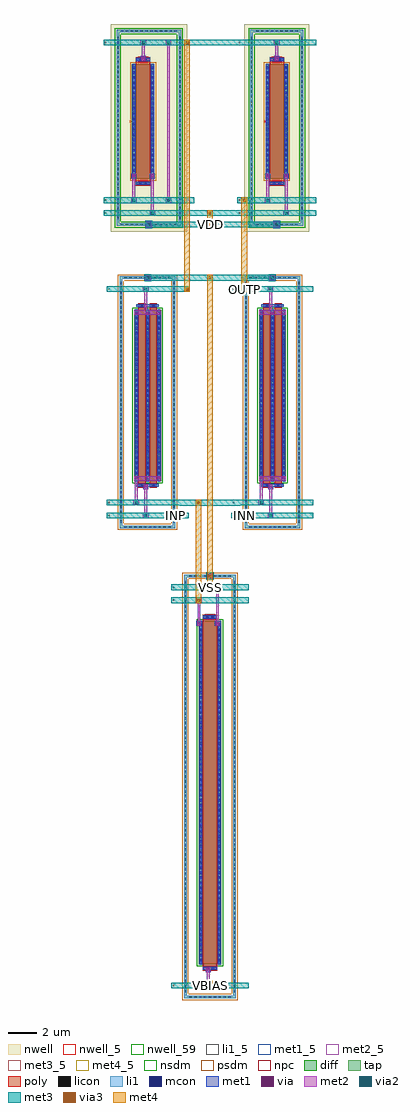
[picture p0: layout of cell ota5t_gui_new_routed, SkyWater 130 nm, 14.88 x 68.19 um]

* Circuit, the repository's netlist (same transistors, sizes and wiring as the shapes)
* Extracted by KLayout with SKY130 LVS runset on : 04/11/2026 18:48

.SUBCKT ota5t_gui_new_routed INN INP OUTP VBIAS VDD VSS sky130_gnd
M$1 \$20 \$20 VDD VDD sky130_fd_pr__pfet_01v8 L=1 W=8 AS=2.32 AD=2.32 PS=16.58
+ PD=16.58
M$2 OUTP \$20 VDD VDD sky130_fd_pr__pfet_01v8 L=1 W=8 AS=2.32 AD=2.32 PS=16.58
+ PD=16.58
M$3 \$4 INP \$20 sky130_gnd sky130_fd_pr__nfet_01v8 L=0.5 W=12 AS=3.48 AD=1.74
+ PS=24.58 PD=12.29
M$4 \$20 INP \$4 sky130_gnd sky130_fd_pr__nfet_01v8 L=0.5 W=12 AS=1.74 AD=3.48
+ PS=12.29 PD=24.58
M$5 \$4 INN OUTP sky130_gnd sky130_fd_pr__nfet_01v8 L=0.5 W=12 AS=3.48 AD=1.74
+ PS=24.58 PD=12.29
M$6 OUTP INN \$4 sky130_gnd sky130_fd_pr__nfet_01v8 L=0.5 W=12 AS=1.74 AD=3.48
+ PS=12.29 PD=24.58
M$7 \$4 VBIAS VSS sky130_gnd sky130_fd_pr__nfet_01v8 L=1 W=24 AS=6.96 AD=6.96
+ PS=48.58 PD=48.58
.ENDS ota5t_gui_new_routed

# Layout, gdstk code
import gdstk
lib = gdstk.Library(unit=1e-6, precision=1e-09)
def R(c, l, rs):  # rectangles x0, y0, x1, y1
    for r in rs: c.add(gdstk.rectangle(r[:2], r[2:], *l))
def A(c, l, x, y, w, h, nx, ny, dx, dy):  # array of equal rectangles
    R(c, l, [(x+i*dx, y+j*dy, x+i*dx+w, y+j*dy+h) for i in range(nx) for j in range(ny)])
nwell_5 = (64, 5)
nwell = (64, 20)
nwell_59 = (64, 59)
diff = (65, 20)
tap = (65, 44)
poly = (66, 20)
licon = (66, 44)
li1_5 = (67, 5)
li1 = (67, 20)
mcon = (67, 44)
met1_5 = (68, 5)
met1 = (68, 20)
via = (68, 44)
met2_5 = (69, 5)
met2 = (69, 20)
via2 = (69, 44)
met3_5 = (70, 5)
met3 = (70, 20)
via3 = (70, 44)
met4_5 = (71, 5)
met4 = (71, 20)
nsdm = (93, 44)
psdm = (94, 20)
npc = (95, 20)

sky130_fd_pr__nfet_01v8_ = lib.new_cell('sky130_fd_pr__nfet_01v8_5VM7HL')
R(sky130_fd_pr__nfet_01v8_, diff, [(-0.79,-12,0.79,12)])
R(sky130_fd_pr__nfet_01v8_, poly, [(-0.5,-12.44,0.5,12.44)])
A(sky130_fd_pr__nfet_01v8_, licon, -0.73, -11.815, 0.17, 0.17, 1, 70, 0, 0.34)
A(sky130_fd_pr__nfet_01v8_, licon, 0.56, -11.815, 0.17, 0.17, 1, 70, 0, 0.34)
R(sky130_fd_pr__nfet_01v8_, licon, [(-0.255,-12.36,-0.085,-12.19), (0.085,-12.36,0.255,-12.19), (-0.255,12.19,-0.085,12.36), (0.085,12.19,0.255,12.36)])
R(sky130_fd_pr__nfet_01v8_, li1, [(-0.5,-12.36,0.5,-12.19), (-0.73,-12.02,-0.56,12.02), (0.56,-12.02,0.73,12.02), (-0.5,12.19,0.5,12.36)])
A(sky130_fd_pr__nfet_01v8_, mcon, -0.73, -11.785, 0.17, 0.17, 1, 66, 0, 0.36)
A(sky130_fd_pr__nfet_01v8_, mcon, 0.56, -11.785, 0.17, 0.17, 1, 66, 0, 0.36)
R(sky130_fd_pr__nfet_01v8_, mcon, [(-0.265,-12.36,-0.095,-12.19), (0.095,-12.36,0.265,-12.19), (-0.265,12.19,-0.095,12.36), (0.095,12.19,0.265,12.36)])
R(sky130_fd_pr__nfet_01v8_, met1, [(-0.48,-12.39,0.48,-12.16), (-0.76,-12,-0.53,12), (0.53,-12,0.76,12), (-0.48,12.16,0.48,12.39)])
R(sky130_fd_pr__nfet_01v8_, nsdm, [(-0.915,-12.125,0.915,12.125)])
R(sky130_fd_pr__nfet_01v8_, npc, [(-0.355,-12.46,0.355,-12.09), (-0.355,12.09,0.355,12.46)])
sky130_fd_pr__nfet_01v8_.add(gdstk.Label('D', (-0.645,0), layer=67, texttype=5))
sky130_fd_pr__nfet_01v8_.add(gdstk.Label('S', (0.645,0), layer=67, texttype=5))
sky130_fd_pr__nfet_01v8_.add(gdstk.Label('G', (0,12.275), layer=67, texttype=5))

nfet_01v8_w24_l1_m1__nf1 = lib.new_cell('nfet_01v8_W24_L1_m1__nf1_gboth_sdfull_ng')
R(nfet_01v8_w24_l1_m1__nf1, nwell_59, [(0.05,12.39,0.15,12.49)])
R(nfet_01v8_w24_l1_m1__nf1, met1_5, [(0.03,12.44,0.26,12.64), (1.32,12.44,1.55,12.64), (0.31,24.6,1.27,24.83)])
R(nfet_01v8_w24_l1_m1__nf1, met1, [(0.03,12.44,0.26,12.64), (1.32,12.44,1.55,12.64), (0.31,24.6,1.27,24.83)])
nfet_01v8_w24_l1_m1__nf1.add(gdstk.Reference(sky130_fd_pr__nfet_01v8_, (0.79,12.44)))
nfet_01v8_w24_l1_m1__nf1.add(gdstk.Label('D', (0.145,12.54), layer=68, texttype=5))
nfet_01v8_w24_l1_m1__nf1.add(gdstk.Label('S', (1.435,12.54), layer=68, texttype=5))
nfet_01v8_w24_l1_m1__nf1.add(gdstk.Label('G', (0.79,24.715), layer=68, texttype=5))
nfet_01v8_w24_l1_m1__nf1.add(gdstk.Label('B', (0.1,12.44), layer=64, texttype=59))

xm5__a = lib.new_cell('XM5__A')
R(xm5__a, tap, [(-0.885,-2.785,2.715,-2.615), (-0.885,-2.615,-0.715,26.635), (2.545,-2.615,2.715,26.635), (-0.885,26.635,2.715,26.805)])
A(xm5__a, licon, -0.53, -2.785, 0.17, 0.17, 9, 2, 0.34, 29.42)
A(xm5__a, licon, -0.885, -2.355, 0.17, 0.17, 1, 85, 0, 0.34)
A(xm5__a, licon, 2.545, -2.355, 0.17, 0.17, 1, 85, 0, 0.34)
R(xm5__a, li1_5, [(0.865,-2.75,0.965,-2.65)])
R(xm5__a, li1, [(-0.885,-2.785,2.715,-2.615), (-0.885,-2.615,-0.715,26.635), (2.545,-2.615,2.715,26.635), (-0.885,26.635,2.715,26.805)])
R(xm5__a, met1, [(-0.035,0.44,0.325,0.8), (1.255,0.44,1.615,0.8), (0.61,24.63,0.97,24.99)])
R(xm5__a, via, [(0.07,0.545,0.22,0.695), (1.36,0.545,1.51,0.695), (0.715,24.735,0.865,24.885)])
R(xm5__a, met2, [(1.235,-2.1,1.635,-1.7), (1.335,-1.7,1.535,0.46), (-0.055,-1.2,0.345,-0.8), (0.045,-0.8,0.245,0.46), (0.015,0.46,0.275,0.78), (1.305,0.46,1.565,0.78), (0.66,24.65,0.92,24.97), (0.69,24.97,0.89,25.72), (0.59,25.72,0.99,26.12)])
R(xm5__a, via2, [(1.335,-2,1.535,-1.8), (0.045,-1.1,0.245,-0.9), (0.69,25.82,0.89,26.02)])
R(xm5__a, met3_5, [(-1.7,-1.95,-1.6,-1.85), (-1.7,-1.05,-1.6,-0.95), (-1.7,25.87,-1.6,25.97)])
R(xm5__a, met3, [(-1.8,-2.1,3.63,-1.7), (-1.8,-1.2,3.63,-0.8), (-1.8,25.72,3.63,26.12)])
R(xm5__a, psdm, [(-1.01,-2.91,2.84,-2.49), (-1.01,-2.49,-0.59,26.51), (2.42,-2.49,2.84,26.51), (-1.01,26.51,2.84,26.93)])
xm5__a.add(gdstk.Reference(nfet_01v8_w24_l1_m1__nf1, (0.13,0)))
xm5__a.add(gdstk.Label('net2', (-1.65,25.92), layer=70, texttype=5))
xm5__a.add(gdstk.Label('net1', (-1.65,-1), layer=70, texttype=5))
xm5__a.add(gdstk.Label('VSS', (-1.65,-1.9), layer=70, texttype=5))
xm5__a.add(gdstk.Label('VSS_body', (0.915,-2.7), layer=67, texttype=5))

c_sky130_fd_pr__nfet_01v8_ = lib.new_cell('sky130_fd_pr__nfet_01v8_BXZS2L')
R(c_sky130_fd_pr__nfet_01v8_, diff, [(-0.935,-6,0.935,6)])
R(c_sky130_fd_pr__nfet_01v8_, poly, [(-0.645,-6.44,-0.145,6.44), (0.145,-6.44,0.645,6.44)])
A(c_sky130_fd_pr__nfet_01v8_, licon, -0.875, -5.865, 0.17, 0.17, 3, 35, 0.79, 0.34)
R(c_sky130_fd_pr__nfet_01v8_, licon, [(-0.48,-6.36,-0.31,-6.19), (0.31,-6.36,0.48,-6.19), (-0.48,6.19,-0.31,6.36), (0.31,6.19,0.48,6.36)])
A(c_sky130_fd_pr__nfet_01v8_, li1, -0.875, -6.02, 0.17, 12.04, 3, 1, 0.79, 0)
R(c_sky130_fd_pr__nfet_01v8_, li1, [(-0.79,-6.36,0.79,-6.19), (-0.79,6.19,0.79,6.36)])
A(c_sky130_fd_pr__nfet_01v8_, mcon, -0.875, -5.845, 0.17, 0.17, 3, 33, 0.79, 0.36)
R(c_sky130_fd_pr__nfet_01v8_, mcon, [(-0.48,-6.36,-0.31,-6.19), (0.31,-6.36,0.48,-6.19), (-0.48,6.19,-0.31,6.36), (0.31,6.19,0.48,6.36)])
A(c_sky130_fd_pr__nfet_01v8_, met1, -0.905, -6, 0.23, 12, 3, 1, 0.79, 0)
R(c_sky130_fd_pr__nfet_01v8_, met1, [(-0.625,-6.39,-0.165,-6.36), (0.165,-6.39,0.625,-6.36), (-0.79,-6.36,0.79,-6.19), (-0.625,-6.19,-0.165,-6.16), (0.165,-6.19,0.625,-6.16), (-0.625,6.16,-0.165,6.19), (0.165,6.16,0.625,6.19), (-0.79,6.19,0.79,6.36), (-0.625,6.36,-0.165,6.39), (0.165,6.36,0.625,6.39)])
R(c_sky130_fd_pr__nfet_01v8_, nsdm, [(-1.06,-6.125,1.06,6.125)])
R(c_sky130_fd_pr__nfet_01v8_, npc, [(-0.58,-6.46,-0.21,-6.09), (0.21,-6.46,0.58,-6.09), (-0.58,6.09,-0.21,6.46), (0.21,6.09,0.58,6.46)])
c_sky130_fd_pr__nfet_01v8_.add(gdstk.Label('D0', (-0.79,0), layer=67, texttype=5))
c_sky130_fd_pr__nfet_01v8_.add(gdstk.Label('G', (0.395,6.275), layer=67, texttype=5))
c_sky130_fd_pr__nfet_01v8_.add(gdstk.Label('G', (-0.395,6.275), layer=67, texttype=5))
c_sky130_fd_pr__nfet_01v8_.add(gdstk.Label('S1', (0,0), layer=67, texttype=5))

nfet_01v8_w24_l0p5_m1__n = lib.new_cell('nfet_01v8_W24_L0p5_m1__nf2_gboth_sdfull_outS_ng')
R(nfet_01v8_w24_l0p5_m1__n, nwell_59, [(0.05,6.39,0.15,6.49)])
R(nfet_01v8_w24_l0p5_m1__n, met1_5, [(0.145,12.6,1.725,12.83)])
R(nfet_01v8_w24_l0p5_m1__n, met1, [(0.805,0.49,1.065,0.81), (0.015,12.07,0.275,12.39), (1.595,12.07,1.855,12.39), (0.145,12.6,1.725,12.83)])
R(nfet_01v8_w24_l0p5_m1__n, via, [(0.86,0.575,1.01,0.725), (0.07,12.155,0.22,12.305), (1.65,12.155,1.8,12.305)])
R(nfet_01v8_w24_l0p5_m1__n, met2_5, [(0.01,0.49,1.86,0.81), (0.01,12.07,1.86,12.39)])
R(nfet_01v8_w24_l0p5_m1__n, met2, [(0.01,0.49,1.86,0.81), (0.01,12.07,1.86,12.39)])
nfet_01v8_w24_l0p5_m1__n.add(gdstk.Reference(c_sky130_fd_pr__nfet_01v8_, (0.935,6.44)))
nfet_01v8_w24_l0p5_m1__n.add(gdstk.Label('S', (0.935,12.23), layer=69, texttype=5))
nfet_01v8_w24_l0p5_m1__n.add(gdstk.Label('D', (0.935,0.65), layer=69, texttype=5))
nfet_01v8_w24_l0p5_m1__n.add(gdstk.Label('G', (0.935,12.715), layer=68, texttype=5))
nfet_01v8_w24_l0p5_m1__n.add(gdstk.Label('B', (0.1,6.44), layer=64, texttype=59))

xm2__a = lib.new_cell('XM2__A')
R(xm2__a, tap, [(-0.885,-1.885,3.005,-1.715), (-0.885,-1.715,-0.715,15.535), (2.835,-1.715,3.005,15.535), (-0.885,15.535,3.005,15.705)])
A(xm2__a, licon, -0.555, -1.885, 0.17, 0.17, 10, 2, 0.34, 17.42)
A(xm2__a, licon, -0.885, -1.505, 0.17, 0.17, 1, 50, 0, 0.34)
A(xm2__a, licon, 2.835, -1.505, 0.17, 0.17, 1, 50, 0, 0.34)
R(xm2__a, li1_5, [(1.01,-1.85,1.11,-1.75)])
R(xm2__a, li1, [(-0.885,-1.885,3.005,-1.715), (-0.885,-1.715,-0.715,15.535), (2.835,-1.715,3.005,15.535), (-0.885,15.535,3.005,15.705)])
R(xm2__a, met1, [(0.755,12.63,1.115,12.99)])
R(xm2__a, via, [(0.86,12.735,1.01,12.885)])
R(xm2__a, met2, [(0.735,-1.2,1.135,-0.8), (0.835,-0.8,1.035,0.59), (0.17,12.29,0.37,13.72), (0.805,12.65,1.065,12.97), (0.835,12.97,1.035,14.62), (0.07,13.72,0.47,14.12), (0.735,14.62,1.135,15.02)])
R(xm2__a, via2, [(0.835,-1.1,1.035,-0.9), (0.17,13.82,0.37,14.02), (0.835,14.72,1.035,14.92)])
R(xm2__a, met3_5, [(-1.7,-1.05,-1.6,-0.95), (-1.7,13.87,-1.6,13.97), (-1.7,14.77,-1.6,14.87)])
R(xm2__a, met3, [(-1.8,-1.2,3.92,-0.8), (-1.8,13.72,3.92,14.12), (-1.8,14.62,3.92,15.02)])
R(xm2__a, psdm, [(-1.01,-2.01,3.13,-1.59), (-1.01,-1.59,-0.59,15.41), (2.71,-1.59,3.13,15.41), (-1.01,15.41,3.13,15.83)])
xm2__a.add(gdstk.Reference(nfet_01v8_w24_l0p5_m1__n, (0.13,0)))
xm2__a.add(gdstk.Label('net1', (-1.65,13.92), layer=70, texttype=5))
xm2__a.add(gdstk.Label('INN', (-1.65,14.82), layer=70, texttype=5))
xm2__a.add(gdstk.Label('OUTP', (-1.65,-1), layer=70, texttype=5))
xm2__a.add(gdstk.Label('VSS_body', (1.06,-1.8), layer=67, texttype=5))

xm1__a = lib.new_cell('XM1__A')
R(xm1__a, tap, [(-0.885,-1.885,3.005,-1.715), (-0.885,-1.715,-0.715,15.535), (2.835,-1.715,3.005,15.535), (-0.885,15.535,3.005,15.705)])
A(xm1__a, licon, -0.555, -1.885, 0.17, 0.17, 10, 2, 0.34, 17.42)
A(xm1__a, licon, -0.885, -1.505, 0.17, 0.17, 1, 50, 0, 0.34)
A(xm1__a, licon, 2.835, -1.505, 0.17, 0.17, 1, 50, 0, 0.34)
R(xm1__a, li1_5, [(1.01,-1.85,1.11,-1.75)])
R(xm1__a, li1, [(-0.885,-1.885,3.005,-1.715), (-0.885,-1.715,-0.715,15.535), (2.835,-1.715,3.005,15.535), (-0.885,15.535,3.005,15.705)])
R(xm1__a, met1, [(0.755,12.63,1.115,12.99)])
R(xm1__a, via, [(0.86,12.735,1.01,12.885)])
R(xm1__a, met2, [(0.735,-1.2,1.135,-0.8), (0.835,-0.8,1.035,0.59), (0.17,12.29,0.37,13.72), (0.805,12.65,1.065,12.97), (0.835,12.97,1.035,14.62), (0.07,13.72,0.47,14.12), (0.735,14.62,1.135,15.02)])
R(xm1__a, via2, [(0.835,-1.1,1.035,-0.9), (0.17,13.82,0.37,14.02), (0.835,14.72,1.035,14.92)])
R(xm1__a, met3_5, [(-1.7,-1.05,-1.6,-0.95), (-1.7,13.87,-1.6,13.97), (-1.7,14.77,-1.6,14.87)])
R(xm1__a, met3, [(-1.8,-1.2,3.92,-0.8), (-1.8,13.72,3.92,14.12), (-1.8,14.62,3.92,15.02)])
R(xm1__a, psdm, [(-1.01,-2.01,3.13,-1.59), (-1.01,-1.59,-0.59,15.41), (2.71,-1.59,3.13,15.41), (-1.01,15.41,3.13,15.83)])
xm1__a.add(gdstk.Reference(nfet_01v8_w24_l0p5_m1__n, (0.13,0)))
xm1__a.add(gdstk.Label('net1', (-1.65,13.92), layer=70, texttype=5))
xm1__a.add(gdstk.Label('INP', (-1.65,14.82), layer=70, texttype=5))
xm1__a.add(gdstk.Label('net3', (-1.65,-1), layer=70, texttype=5))
xm1__a.add(gdstk.Label('VSS_body', (1.06,-1.8), layer=67, texttype=5))

sky130_fd_pr__pfet_01v8_ = lib.new_cell('sky130_fd_pr__pfet_01v8_8HDVAE')
R(sky130_fd_pr__pfet_01v8_, nwell, [(-0.97,-4.5,0.97,4.5)])
R(sky130_fd_pr__pfet_01v8_, diff, [(-0.79,-4,0.79,4)])
R(sky130_fd_pr__pfet_01v8_, poly, [(-0.5,-4.485,0.5,4.485)])
A(sky130_fd_pr__pfet_01v8_, licon, -0.73, -3.825, 0.17, 0.17, 1, 23, 0, 0.34)
A(sky130_fd_pr__pfet_01v8_, licon, 0.56, -3.825, 0.17, 0.17, 1, 23, 0, 0.34)
R(sky130_fd_pr__pfet_01v8_, licon, [(-0.255,-4.405,-0.085,-4.235), (0.085,-4.405,0.255,-4.235), (-0.255,4.235,-0.085,4.405), (0.085,4.235,0.255,4.405)])
R(sky130_fd_pr__pfet_01v8_, li1, [(-0.5,-4.405,0.5,-4.235), (-0.73,-4.02,-0.56,4.02), (0.56,-4.02,0.73,4.02), (-0.5,4.235,0.5,4.405)])
A(sky130_fd_pr__pfet_01v8_, mcon, -0.73, -3.865, 0.17, 0.17, 1, 22, 0, 0.36)
A(sky130_fd_pr__pfet_01v8_, mcon, 0.56, -3.865, 0.17, 0.17, 1, 22, 0, 0.36)
R(sky130_fd_pr__pfet_01v8_, mcon, [(-0.265,-4.405,-0.095,-4.235), (0.095,-4.405,0.265,-4.235), (-0.265,4.235,-0.095,4.405), (0.095,4.235,0.265,4.405)])
R(sky130_fd_pr__pfet_01v8_, met1, [(-0.48,-4.435,0.48,-4.205), (-0.76,-4,-0.53,4), (0.53,-4,0.76,4), (-0.48,4.205,0.48,4.435)])
R(sky130_fd_pr__pfet_01v8_, psdm, [(-0.915,-4.125,0.915,4.125)])
R(sky130_fd_pr__pfet_01v8_, npc, [(-0.355,-4.505,0.355,-4.135), (-0.355,4.135,0.355,4.505)])
sky130_fd_pr__pfet_01v8_.add(gdstk.Label('D', (-0.645,0), layer=67, texttype=5))
sky130_fd_pr__pfet_01v8_.add(gdstk.Label('S', (0.645,0), layer=67, texttype=5))
sky130_fd_pr__pfet_01v8_.add(gdstk.Label('G', (0,4.32), layer=67, texttype=5))

pfet_01v8_w8_l1_m1__nf1_ = lib.new_cell('pfet_01v8_W8_L1_m1__nf1_gboth_sdfull_ng')
R(pfet_01v8_w8_l1_m1__nf1_, nwell_5, [(0.05,4.45,0.15,4.55)])
R(pfet_01v8_w8_l1_m1__nf1_, nwell, [(0.05,4.45,0.15,4.55)])
R(pfet_01v8_w8_l1_m1__nf1_, met1_5, [(0.21,4.5,0.44,4.7), (1.5,4.5,1.73,4.7), (0.49,8.705,1.45,8.935)])
R(pfet_01v8_w8_l1_m1__nf1_, met1, [(0.21,4.5,0.44,4.7), (1.5,4.5,1.73,4.7), (0.49,8.705,1.45,8.935)])
pfet_01v8_w8_l1_m1__nf1_.add(gdstk.Reference(sky130_fd_pr__pfet_01v8_, (0.97,4.5)))
pfet_01v8_w8_l1_m1__nf1_.add(gdstk.Label('D', (0.325,4.6), layer=68, texttype=5))
pfet_01v8_w8_l1_m1__nf1_.add(gdstk.Label('S', (1.615,4.6), layer=68, texttype=5))
pfet_01v8_w8_l1_m1__nf1_.add(gdstk.Label('G', (0.97,8.82), layer=68, texttype=5))
pfet_01v8_w8_l1_m1__nf1_.add(gdstk.Label('B', (0.1,4.5), layer=64, texttype=5))

xm4__a = lib.new_cell('XM4__A')
R(xm4__a, nwell, [(-1.3,-3.2,3.24,11.31)])
R(xm4__a, tap, [(-0.885,-2.785,2.825,-2.615), (-0.885,-2.615,-0.715,10.725), (2.655,-2.615,2.825,10.725), (-0.885,10.725,2.825,10.895)])
A(xm4__a, licon, -0.475, -2.785, 0.17, 0.17, 9, 2, 0.34, 13.51)
A(xm4__a, licon, -0.885, -2.32, 0.17, 0.17, 1, 38, 0, 0.34)
A(xm4__a, licon, 2.655, -2.32, 0.17, 0.17, 1, 38, 0, 0.34)
R(xm4__a, li1_5, [(0.92,-2.75,1.02,-2.65)])
R(xm4__a, li1, [(-0.885,-2.785,2.825,-2.615), (-0.885,-2.615,-0.715,10.725), (2.655,-2.615,2.825,10.725), (-0.885,10.725,2.825,10.895)])
R(xm4__a, met1, [(0.145,0.5,0.505,0.86), (1.435,0.5,1.795,0.86), (0.79,8.735,1.15,9.095)])
R(xm4__a, via, [(0.25,0.605,0.4,0.755), (1.54,0.605,1.69,0.755), (0.895,8.84,1.045,8.99)])
R(xm4__a, met2, [(1.415,-2.1,1.815,-1.7), (1.515,-1.7,1.715,0.52), (0.125,-1.2,0.525,-0.8), (0.225,-0.8,0.425,0.52), (0.195,0.52,0.455,0.84), (1.485,0.52,1.745,0.84), (0.84,8.755,1.1,9.075), (0.87,9.075,1.07,9.81), (0.77,9.81,1.17,10.21)])
R(xm4__a, via2, [(1.515,-2,1.715,-1.8), (0.225,-1.1,0.425,-0.9), (0.87,9.91,1.07,10.11)])
R(xm4__a, met3_5, [(-1.7,-1.95,-1.6,-1.85), (-1.7,-1.05,-1.6,-0.95), (-1.7,9.96,-1.6,10.06)])
R(xm4__a, met3, [(-1.8,-2.1,3.74,-1.7), (-1.8,-1.2,3.74,-0.8), (-1.8,9.81,3.74,10.21)])
R(xm4__a, nsdm, [(-1.01,-2.91,2.95,-2.49), (-1.01,-2.49,-0.59,10.6), (2.53,-2.49,2.95,10.6), (-1.01,10.6,2.95,11.02)])
xm4__a.add(gdstk.Reference(pfet_01v8_w8_l1_m1__nf1_, (0,0)))
xm4__a.add(gdstk.Label('net3', (-1.65,10.01), layer=70, texttype=5))
xm4__a.add(gdstk.Label('OUTP', (-1.65,-1), layer=70, texttype=5))
xm4__a.add(gdstk.Label('VDD', (-1.65,-1.9), layer=70, texttype=5))
xm4__a.add(gdstk.Label('VDD_body', (0.97,-2.7), layer=67, texttype=5))

xm3__a = lib.new_cell('XM3__A')
R(xm3__a, nwell, [(-1.3,-3.2,4.04,11.31)])
R(xm3__a, tap, [(-0.885,-2.785,3.625,-2.615), (-0.885,-2.615,-0.715,10.725), (3.455,-2.615,3.625,10.725), (-0.885,10.725,3.625,10.895)])
A(xm3__a, licon, -0.585, -2.785, 0.17, 0.17, 12, 2, 0.34, 13.51)
A(xm3__a, licon, -0.885, -2.32, 0.17, 0.17, 1, 38, 0, 0.34)
A(xm3__a, licon, 3.455, -2.32, 0.17, 0.17, 1, 38, 0, 0.34)
R(xm3__a, li1_5, [(1.32,-2.75,1.42,-2.65)])
R(xm3__a, li1, [(-0.885,-2.785,3.625,-2.615), (-0.885,-2.615,-0.715,10.725), (3.455,-2.615,3.625,10.725), (-0.885,10.725,3.625,10.895)])
R(xm3__a, met1, [(0.145,0.5,0.505,0.86), (1.435,0.5,1.795,0.86), (0.79,8.735,1.15,9.095)])
R(xm3__a, via, [(0.25,0.605,0.4,0.755), (1.54,0.605,1.69,0.755), (0.895,8.84,1.045,8.99)])
R(xm3__a, met2, [(1.415,-2.1,1.815,-1.7), (1.515,-1.7,1.715,0.52), (0.125,-1.2,0.525,-0.8), (2.54,-1.2,2.94,-0.8), (0.225,-0.8,0.425,0.52), (2.64,-0.8,2.84,9.81), (0.195,0.52,0.455,0.84), (1.485,0.52,1.745,0.84), (0.84,8.755,1.1,9.075), (0.87,9.075,1.07,9.81), (0.77,9.81,1.17,10.21), (2.54,9.81,2.94,10.21)])
R(xm3__a, via2, [(1.515,-2,1.715,-1.8), (0.225,-1.1,0.425,-0.9), (2.64,-1.1,2.84,-0.9), (0.87,9.91,1.07,10.11), (2.64,9.91,2.84,10.11)])
R(xm3__a, met3_5, [(-1.7,-1.95,-1.6,-1.85), (-1.7,-1.05,-1.6,-0.95), (-1.7,9.96,-1.6,10.06)])
R(xm3__a, met3, [(-1.8,-2.1,4.54,-1.7), (-1.8,-1.2,4.54,-0.8), (-1.8,9.81,4.54,10.21)])
R(xm3__a, nsdm, [(-1.01,-2.91,3.75,-2.49), (-1.01,-2.49,-0.59,10.6), (3.33,-2.49,3.75,10.6), (-1.01,10.6,3.75,11.02)])
xm3__a.add(gdstk.Reference(pfet_01v8_w8_l1_m1__nf1_, (0,0)))
xm3__a.add(gdstk.Label('net3', (-1.65,10.01), layer=70, texttype=5))
xm3__a.add(gdstk.Label('net3', (-1.65,-1), layer=70, texttype=5))
xm3__a.add(gdstk.Label('VDD', (-1.65,-1.9), layer=70, texttype=5))
xm3__a.add(gdstk.Label('VDD_body', (1.37,-2.7), layer=67, texttype=5))

ota5t_gui_new_routed = lib.new_cell('ota5t_gui_new_routed')
R(ota5t_gui_new_routed, li1, [(-0.25,-38.81,0.25,-38.31), (-4.61,-17.97,-4.11,-17.47), (4.11,-17.97,4.61,-17.47), (-4.52,-14.26,-4.02,-13.76), (4.42,-14.26,4.92,-13.76)])
R(ota5t_gui_new_routed, mcon, [(-0.085,-38.645,0.085,-38.475), (-4.445,-17.805,-4.275,-17.635), (4.275,-17.805,4.445,-17.635), (-4.355,-14.095,-4.185,-13.925), (4.585,-14.095,4.755,-13.925)])
R(ota5t_gui_new_routed, met1, [(-0.17,-38.73,0.17,-38.39), (-4.53,-17.89,-4.19,-17.55), (4.19,-17.89,4.53,-17.55), (-4.44,-14.18,-4.1,-13.84), (4.5,-14.18,4.84,-13.84)])
R(ota5t_gui_new_routed, via, [(-0.075,-38.635,0.075,-38.485), (-4.435,-17.795,-4.285,-17.645), (4.285,-17.795,4.435,-17.645), (-4.345,-14.085,-4.195,-13.935), (4.595,-14.085,4.745,-13.935)])
R(ota5t_gui_new_routed, met2, [(-0.2,-38.76,0.2,-38.36), (-4.56,-17.92,-4.16,-17.52), (4.16,-17.92,4.56,-17.52), (-4.47,-14.21,-4.07,-13.81), (4.47,-14.21,4.87,-13.81)])
R(ota5t_gui_new_routed, via2, [(-0.1,-38.66,0.1,-38.46), (-4.46,-17.82,-4.26,-17.62), (4.26,-17.82,4.46,-17.62), (-4.37,-14.11,-4.17,-13.91), (4.57,-14.11,4.77,-13.91)])
R(ota5t_gui_new_routed, met3, [(-0.2,-67.38,0.2,-66.98), (-1,-40.46,-0.6,-40.06), (-0.2,-39.56,0.2,-39.16), (-0.25,-38.81,0.25,-38.31), (-2.6,-34.54,-2.2,-34.14), (2.2,-34.54,2.6,-34.14), (-2.1,-33.64,2.1,-33.24), (-7.02,-18.72,-1.4,-18.32), (2.2,-18.72,2.6,-18.32), (-4.61,-17.97,-4.11,-17.92), (4.11,-17.97,4.61,-17.92), (-4.61,-17.92,4.61,-17.52), (-4.61,-17.52,-4.11,-17.47), (4.11,-17.52,4.61,-17.47), (-4.52,-14.26,-4.02,-14.21), (4.42,-14.26,4.92,-14.21), (-4.52,-14.21,4.92,-13.81), (-4.52,-13.81,-4.02,-13.76), (4.42,-13.81,4.92,-13.76), (-1.7,-13.41,2.5,-13.01), (2.2,-12.51,2.6,-12.11), (-1.8,-1.5,2.5,-1.1)])
R(ota5t_gui_new_routed, via3, [(-0.1,-67.28,0.1,-67.08), (-0.9,-40.36,-0.7,-40.16), (-0.1,-39.46,0.1,-39.26), (-0.1,-38.66,0.1,-38.46), (-2.5,-34.44,-2.3,-34.24), (2.3,-34.44,2.5,-34.24), (-0.9,-33.54,-0.7,-33.34), (-1.7,-18.62,-1.5,-18.42), (2.3,-18.62,2.5,-18.42), (-0.1,-17.82,0.1,-17.62), (-0.1,-14.11,0.1,-13.91), (-0.1,-13.31,0.1,-13.11), (2.3,-12.41,2.5,-12.21), (-1.7,-1.4,-1.5,-1.2)])
R(ota5t_gui_new_routed, met4_5, [(-0.05,-67.23,0.05,-67.13), (-0.05,-39.41,0.05,-39.31), (-2.45,-34.39,-2.35,-34.29), (2.35,-34.39,2.45,-34.29), (2.35,-18.57,2.45,-18.47), (-0.05,-14.06,0.05,-13.96)])
R(ota5t_gui_new_routed, met4, [(-0.2,-67.53,0.2,-66.83), (-1,-40.46,-0.6,-33.24), (-0.2,-39.56,0.2,-17.52), (-2.6,-34.69,-2.2,-33.99), (2.2,-34.69,2.6,-33.99), (-1.8,-18.72,-1.4,-1.1), (2.2,-18.72,2.6,-12.11), (-0.2,-14.21,0.2,-13.01)])
ota5t_gui_new_routed.add(gdstk.Reference(xm5__a, (-0.915,-41.255), x_reflection=True))
ota5t_gui_new_routed.add(gdstk.Reference(xm2__a, (3.3,-19.515), x_reflection=True))
ota5t_gui_new_routed.add(gdstk.Reference(xm1__a, (-5.42,-19.515), x_reflection=True))
ota5t_gui_new_routed.add(gdstk.Reference(xm4__a, (3.7,-11.31)))
ota5t_gui_new_routed.add(gdstk.Reference(xm3__a, (-5.64,-11.31)))
ota5t_gui_new_routed.add(gdstk.Label('OUTP', (2.4,-18.52), layer=71, texttype=5))
ota5t_gui_new_routed.add(gdstk.Label('INN', (2.4,-34.34), layer=71, texttype=5))
ota5t_gui_new_routed.add(gdstk.Label('INP', (-2.4,-34.34), layer=71, texttype=5))
ota5t_gui_new_routed.add(gdstk.Label('VBIAS', (0,-67.18), layer=71, texttype=5))
ota5t_gui_new_routed.add(gdstk.Label('VDD', (0,-14.01), layer=71, texttype=5))
ota5t_gui_new_routed.add(gdstk.Label('VSS', (0,-39.36), layer=71, texttype=5))

lib.write_gds('ota5t_gui_new_routed.gds')
